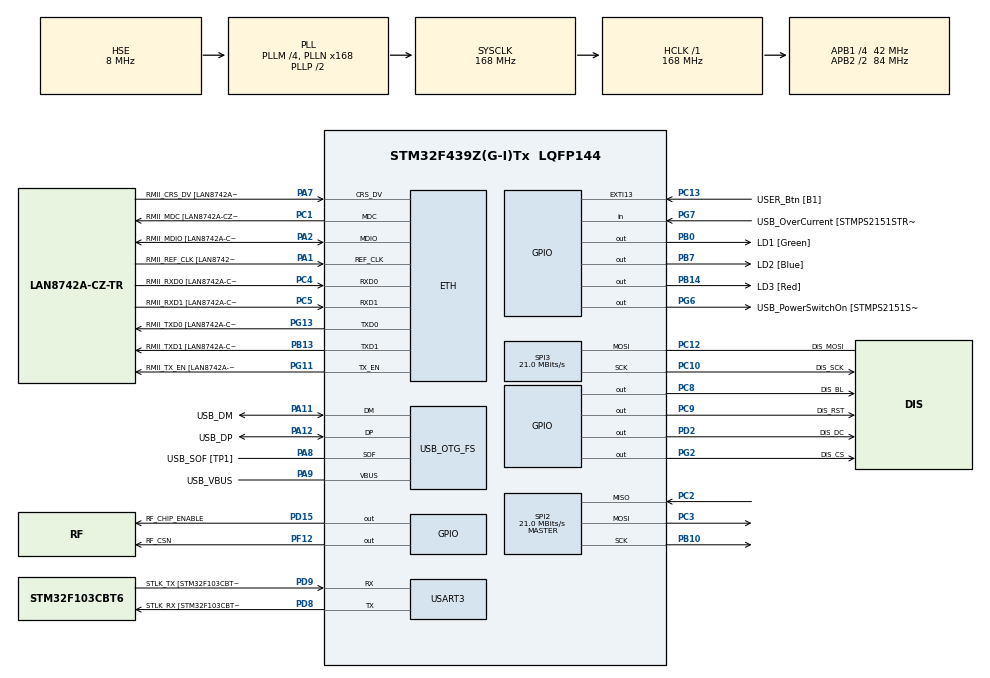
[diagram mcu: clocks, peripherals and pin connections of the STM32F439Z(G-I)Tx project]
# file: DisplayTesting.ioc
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ETH.MediaInterface=HAL_ETH_RMII_MODE
ETH.PHY_Name=LAN8742A_PHY_ADDRESS
ETH.PHY_Value=0
ETH.PhyAddress=0
Mcu.Family=STM32F4
Mcu.Name=STM32F439Z(G-I)Tx
Mcu.Package=LQFP144
NVIC.PriorityGroup=NVIC_PRIORITYGROUP_4
PA1.GPIO_Label=RMII_REF_CLK [LAN8742A-CZ-TR_REFCLK0]
PA1.Mode=RMII
PA1.Signal=ETH_REF_CLK
PA10.GPIO_Label=USB_ID
PA10.Signal=USB_OTG_FS_ID
PA11.GPIO_Label=USB_DM
PA11.Mode=Device_Only
PA11.Signal=USB_OTG_FS_DM
PA12.GPIO_Label=USB_DP
PA12.Mode=Device_Only
PA12.Signal=USB_OTG_FS_DP
PA13.GPIO_Label=TMS
PA13.Mode=Serial_Wire
PA13.Signal=SYS_JTMS-SWDIO
PA14.GPIO_Label=TCK
PA14.Mode=Serial_Wire
PA14.Signal=SYS_JTCK-SWCLK
PA2.GPIO_Label=RMII_MDIO [LAN8742A-CZ-TR_MDIO]
PA2.Mode=RMII
PA2.Signal=ETH_MDIO
PA5.GPIO_Label=RF_SCK
PA5.Signal=SPI1_SCK
PA6.GPIO_Label=RF_MISO
PA6.Signal=SPI1_MISO
PA7.GPIO_Label=RMII_CRS_DV [LAN8742A-CZ-TR_CRS_DV]
PA7.Mode=RMII
PA7.Signal=ETH_CRS_DV
PA8.GPIO_Label=USB_SOF [TP1]
PA8.Mode=Activate_SOF_FS
PA8.Signal=USB_OTG_FS_SOF
PA9.GPIO_Label=USB_VBUS
PA9.Mode=Activate_VBUS
PA9.Signal=USB_OTG_FS_VBUS
PB0.GPIO_Label=LD1 [Green]
PB0.Signal=GPIO_Output
PB10.Mode=Full_Duplex_Master
PB10.Signal=SPI2_SCK
PB13.GPIO_Label=RMII_TXD1 [LAN8742A-CZ-TR_TXD1]
PB13.Mode=RMII
PB13.Signal=ETH_TXD1
PB14.GPIO_Label=LD3 [Red]
PB14.Signal=GPIO_Output
PB5.GPIO_Label=RF_MOSI
PB5.Signal=SPI1_MOSI
PB7.GPIO_Label=LD2 [Blue]
PB7.Signal=GPIO_Output
PC1.GPIO_Label=RMII_MDC [LAN8742A-CZ-TR_MDC]
PC1.Mode=RMII
PC1.Signal=ETH_MDC
PC10.GPIO_Label=DIS_SCK
PC10.Mode=Simplex_Bidirectional_Master
PC10.Signal=SPI3_SCK
PC12.GPIO_Label=DIS_MOSI
PC12.Mode=Simplex_Bidirectional_Master
PC12.Signal=SPI3_MOSI
PC13.GPIO_Label=USER_Btn [B1]
PC13.Signal=GPXTI13
PC14/OSC32_IN.Mode=LSE-External-Oscillator
PC14/OSC32_IN.Signal=RCC_OSC32_IN
PC15/OSC32_OUT.Mode=LSE-External-Oscillator
PC15/OSC32_OUT.Signal=RCC_OSC32_OUT
PC2.Mode=Full_Duplex_Master
PC2.Signal=SPI2_MISO
PC3.Mode=Full_Duplex_Master
PC3.Signal=SPI2_MOSI
PC4.GPIO_Label=RMII_RXD0 [LAN8742A-CZ-TR_RXD0]
PC4.Mode=RMII
PC4.Signal=ETH_RXD0
PC5.GPIO_Label=RMII_RXD1 [LAN8742A-CZ-TR_RXD1]
PC5.Mode=RMII
PC5.Signal=ETH_RXD1
PC8.GPIO_Label=DIS_BL
PC8.Signal=GPIO_Output
PC9.GPIO_Label=DIS_RST
PC9.Signal=GPIO_Output
PD15.GPIO_Label=RF_CHIP_ENABLE
PD15.GPIO_Speed=GPIO_SPEED_FREQ_VERY_HIGH
PD15.Signal=GPIO_Output
PD2.GPIO_Label=DIS_DC
PD2.Signal=GPIO_Output
PD8.GPIO_Label=STLK_RX [STM32F103CBT6_PA3]
PD8.Mode=Asynchronous
PD8.Signal=USART3_TX
PD9.GPIO_Label=STLK_TX [STM32F103CBT6_PA2]
PD9.Mode=Asynchronous
PD9.Signal=USART3_RX
PF12.GPIO_Label=RF_CSN
PF12.GPIO_Speed=GPIO_SPEED_FREQ_VERY_HIGH
PF12.PinState=GPIO_PIN_SET
PF12.Signal=GPIO_Output
PG11.GPIO_Label=RMII_TX_EN [LAN8742A-CZ-TR_TXEN]
PG11.Mode=RMII
PG11.Signal=ETH_TX_EN
PG13.GPIO_Label=RMII_TXD0 [LAN8742A-CZ-TR_TXD0]
PG13.Mode=RMII
PG13.Signal=ETH_TXD0
PG2.GPIO_Label=DIS_CS
PG2.Signal=GPIO_Output
PG6.GPIO_Label=USB_PowerSwitchOn [STMPS2151STR_EN]
PG6.Signal=GPIO_Output
PG7.GPIO_Label=USB_OverCurrent [STMPS2151STR_FAULT]
PG7.Signal=GPIO_Input
PH0/OSC_IN.GPIO_Label=MCO [STM32F103CBT6_PA8]
PH0/OSC_IN.Mode=HSE-External-Clock-Source
PH0/OSC_IN.Signal=RCC_OSC_IN
PH1/OSC_OUT.Mode=HSE-External-Clock-Source
PH1/OSC_OUT.Signal=RCC_OSC_OUT
ProjectManager.HeapSize=0x200
ProjectManager.StackSize=0x400
ProjectManager.TargetToolchain=STM32CubeIDE
RCC.48MHZClocksFreq_Value=48000000
RCC.AHBFreq_Value=168000000
RCC.APB1CLKDivider=RCC_HCLK_DIV4
RCC.APB1Freq_Value=42000000
RCC.APB1TimFreq_Value=84000000
RCC.APB2CLKDivider=RCC_HCLK_DIV2
RCC.APB2Freq_Value=84000000
RCC.APB2TimCLKDivider=2
RCC.APB2TimFreq_Value=168000000
RCC.CortexFreq_Value=168000000
RCC.HCLKFreq_Value=168000000
RCC.HSE_VALUE=8000000
RCC.HSI_VALUE=16000000
RCC.PLLM=4
RCC.PLLMUL=RCC_PLL_MUL9
RCC.PLLN=168
RCC.PLLQ=7
RCC.PRESCALERUSB=RCC_USBCLKSOURCE_PLL_DIV1_5
RCC.SYSCLKFreq_VALUE=168000000
RCC.SYSCLKSource=RCC_SYSCLKSOURCE_PLLCLK
RCC.SYSCLKSourceVirtual=RCC_SYSCLKSOURCE_PLLCLK
RCC.USBFreq_Value=48000000
RCC.VCOOutputFreq_Value=336000000
SPI2.BaudRatePrescaler=SPI_BAUDRATEPRESCALER_2
SPI2.CalculateBaudRate=21.0 MBits/s
SPI2.Direction=SPI_DIRECTION_2LINES
SPI2.Mode=SPI_MODE_MASTER
SPI2.VirtualType=VM_MASTER
SPI3.BaudRatePrescaler=SPI_BAUDRATEPRESCALER_2
SPI3.CalculateBaudRate=21.0 MBits/s
SPI3.Direction=SPI_DIRECTION_1LINE
SPI3.Mode=SPI_MODE_MASTER
SPI3.VirtualType=VM_MASTER
USART3.VirtualMode=VM_ASYNC
USB_OTG_FS.VirtualMode=Device_Only
board=NUCLEO-F439ZI

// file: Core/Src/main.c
/* USER CODE BEGIN Header */
/**
  ******************************************************************************
  * @file           : main.c
  * @brief          : Main program body
  ******************************************************************************
  * @attention
  *
  * Copyright (c) 2023 STMicroelectronics.
  * All rights reserved.
  *
  * This software is licensed under terms that can be found in the LICENSE file
  * in the root directory of this software component.
  * If no LICENSE file comes with this software, it is provided AS-IS.
  *
  ******************************************************************************
  */
/* USER CODE END Header */
#include "main.h"
#include "string.h"

/* USER CODE BEGIN Includes */
// IMAGE_INPUT
// RF_INPUT
// CAMERA_INPUT
#define RF_INPUT

#include "displayST7789.h"
#include <stdint.h>
#include "string.h"
#ifdef RF_INPUT
#include "RFDriver.h"
#endif

#ifdef IMAGE_INPUT
#include "testImages/mandoRGB565.h"
#endif
//#include "mandoBW1.h"
//#include "madoBW3InRGB565.h"
/* USER CODE END Includes */

ETH_TxPacketConfig TxConfig;
ETH_DMADescTypeDef  DMARxDscrTab[ETH_RX_DESC_CNT]; /* Ethernet Rx DMA Descriptors */
ETH_DMADescTypeDef  DMATxDscrTab[ETH_TX_DESC_CNT]; /* Ethernet Tx DMA Descriptors */

ETH_HandleTypeDef heth;

SPI_HandleTypeDef hspi2;
SPI_HandleTypeDef hspi3;

UART_HandleTypeDef huart3;

PCD_HandleTypeDef hpcd_USB_OTG_FS;

void SystemClock_Config(void);
static void MX_GPIO_Init(void);
static void MX_ETH_Init(void);
static void MX_USART3_UART_Init(void);
static void MX_USB_OTG_FS_PCD_Init(void);
static void MX_SPI3_Init(void);
static void MX_SPI2_Init(void);

int main(void)
{

  /* MCU Configuration--------------------------------------------------------*/

  /* Reset of all peripherals, Initializes the Flash interface and the Systick. */
  HAL_Init();

  /* Configure the system clock */
  SystemClock_Config();

  /* Initialize all configured peripherals */
  MX_GPIO_Init();
  MX_ETH_Init();
  MX_USART3_UART_Init();
  MX_USB_OTG_FS_PCD_Init();
  MX_SPI3_Init();
  MX_SPI2_Init();
  /* USER CODE BEGIN 2 */
  Display_HandleTypeDef hDisplay;
  hDisplay.hspi = &hspi3;
  hDisplay.portCS = DIS_CS_GPIO_Port; hDisplay.pinCS = DIS_CS_Pin;
  hDisplay.portDC = DIS_DC_GPIO_Port; hDisplay.pinDC = DIS_DC_Pin;
  hDisplay.portRST = DIS_RST_GPIO_Port; hDisplay.pinRST = DIS_RST_Pin;
  hDisplay.portBL = DIS_BL_GPIO_Port; hDisplay.pinBL = DIS_BL_Pin;
  setupDisplay(hDisplay);

  #ifdef RF_INPUT
  RF_HandleTypeDef hRF;
  hRF.hspi = &hspi2;
  hRF.portCE = RF_CHIP_ENABLE_GPIO_Port;
  hRF.pinCE = RF_CHIP_ENABLE_Pin;
  hRF.portCSN = RF_CSN_GPIO_Port;
  hRF.pinCSN = RF_CSN_Pin;
  RFSetup(hRF);
  HAL_Delay(100);
  RXSetup();
  HAL_Delay(100);
  #endif

  /* USER CODE END 2 */

  /* Infinite loop */
  /* USER CODE BEGIN WHILE */
  uint16_t i = 0;
  while (1)
  {
    /* USER CODE END WHILE */

    /* USER CODE BEGIN 3 */
	//invertDisplay();

	// Image input
	// Radio Chip Input
	// Camera Input ??

	#ifdef IMAGE_INPUT
	paintDisplayRGB565(mando + 240*i/(8));
	i++;
	i = i%30;
	HAL_Delay(1);
	#endif

    #ifdef RF_INPUT
	uint8_t data[32];
	if (RXReceive(data)) {
		uint16_t lineID;
		uint8_t lineData[30];
		decodeImage(data, &lineID, lineData);
		paintLineBW1(lineID, lineData);
	}
    #endif

	//paintDisplay(mando);
	//invertDisplay();
  }
  /* USER CODE END 3 */
}

void SystemClock_Config(void)
{
  RCC_OscInitTypeDef RCC_OscInitStruct = {0};
  RCC_ClkInitTypeDef RCC_ClkInitStruct = {0};

  /** Configure the main internal regulator output voltage
  */
  __HAL_RCC_PWR_CLK_ENABLE();
  __HAL_PWR_VOLTAGESCALING_CONFIG(PWR_REGULATOR_VOLTAGE_SCALE1);

  /** Initializes the RCC Oscillators according to the specified parameters
  * in the RCC_OscInitTypeDef structure.
  */
  RCC_OscInitStruct.OscillatorType = RCC_OSCILLATORTYPE_HSE;
  RCC_OscInitStruct.HSEState = RCC_HSE_BYPASS;
  RCC_OscInitStruct.PLL.PLLState = RCC_PLL_ON;
  RCC_OscInitStruct.PLL.PLLSource = RCC_PLLSOURCE_HSE;
  RCC_OscInitStruct.PLL.PLLM = 4;
  RCC_OscInitStruct.PLL.PLLN = 168;
  RCC_OscInitStruct.PLL.PLLP = RCC_PLLP_DIV2;
  RCC_OscInitStruct.PLL.PLLQ = 7;
  if (HAL_RCC_OscConfig(&RCC_OscInitStruct) != HAL_OK)
  {
    Error_Handler();
  }

  /** Initializes the CPU, AHB and APB buses clocks
  */
  RCC_ClkInitStruct.ClockType = RCC_CLOCKTYPE_HCLK|RCC_CLOCKTYPE_SYSCLK
                              |RCC_CLOCKTYPE_PCLK1|RCC_CLOCKTYPE_PCLK2;
  RCC_ClkInitStruct.SYSCLKSource = RCC_SYSCLKSOURCE_PLLCLK;
  RCC_ClkInitStruct.AHBCLKDivider = RCC_SYSCLK_DIV1;
  RCC_ClkInitStruct.APB1CLKDivider = RCC_HCLK_DIV4;
  RCC_ClkInitStruct.APB2CLKDivider = RCC_HCLK_DIV2;

  if (HAL_RCC_ClockConfig(&RCC_ClkInitStruct, FLASH_LATENCY_5) != HAL_OK)
  {
    Error_Handler();
  }
}

static void MX_ETH_Init(void)
{

   static uint8_t MACAddr[6];

  heth.Instance = ETH;
  MACAddr[0] = 0x00;
  MACAddr[1] = 0x80;
  MACAddr[2] = 0xE1;
  MACAddr[3] = 0x00;
  MACAddr[4] = 0x00;
  MACAddr[5] = 0x00;
  heth.Init.MACAddr = &MACAddr[0];
  heth.Init.MediaInterface = HAL_ETH_RMII_MODE;
  heth.Init.TxDesc = DMATxDscrTab;
  heth.Init.RxDesc = DMARxDscrTab;
  heth.Init.RxBuffLen = 1524;

  if (HAL_ETH_Init(&heth) != HAL_OK)
  {
    Error_Handler();
  }

  memset(&TxConfig, 0 , sizeof(ETH_TxPacketConfig));
  TxConfig.Attributes = ETH_TX_PACKETS_FEATURES_CSUM | ETH_TX_PACKETS_FEATURES_CRCPAD;
  TxConfig.ChecksumCtrl = ETH_CHECKSUM_IPHDR_PAYLOAD_INSERT_PHDR_CALC;
  TxConfig.CRCPadCtrl = ETH_CRC_PAD_INSERT;

}

static void MX_SPI2_Init(void)
{

  /* SPI2 parameter configuration*/
  hspi2.Instance = SPI2;
  hspi2.Init.Mode = SPI_MODE_MASTER;
  hspi2.Init.Direction = SPI_DIRECTION_2LINES;
  hspi2.Init.DataSize = SPI_DATASIZE_8BIT;
  hspi2.Init.CLKPolarity = SPI_POLARITY_LOW;
  hspi2.Init.CLKPhase = SPI_PHASE_1EDGE;
  hspi2.Init.NSS = SPI_NSS_SOFT;
  hspi2.Init.BaudRatePrescaler = SPI_BAUDRATEPRESCALER_2;
  hspi2.Init.FirstBit = SPI_FIRSTBIT_MSB;
  hspi2.Init.TIMode = SPI_TIMODE_DISABLE;
  hspi2.Init.CRCCalculation = SPI_CRCCALCULATION_DISABLE;
  hspi2.Init.CRCPolynomial = 10;
  if (HAL_SPI_Init(&hspi2) != HAL_OK)
  {
    Error_Handler();
  }

}

static void MX_SPI3_Init(void)
{

  /* SPI3 parameter configuration*/
  hspi3.Instance = SPI3;
  hspi3.Init.Mode = SPI_MODE_MASTER;
  hspi3.Init.Direction = SPI_DIRECTION_1LINE;
  hspi3.Init.DataSize = SPI_DATASIZE_8BIT;
  hspi3.Init.CLKPolarity = SPI_POLARITY_LOW;
  hspi3.Init.CLKPhase = SPI_PHASE_1EDGE;
  hspi3.Init.NSS = SPI_NSS_SOFT;
  hspi3.Init.BaudRatePrescaler = SPI_BAUDRATEPRESCALER_2;
  hspi3.Init.FirstBit = SPI_FIRSTBIT_MSB;
  hspi3.Init.TIMode = SPI_TIMODE_DISABLE;
  hspi3.Init.CRCCalculation = SPI_CRCCALCULATION_DISABLE;
  hspi3.Init.CRCPolynomial = 10;
  if (HAL_SPI_Init(&hspi3) != HAL_OK)
  {
    Error_Handler();
  }

}

static void MX_USART3_UART_Init(void)
{

  huart3.Instance = USART3;
  huart3.Init.BaudRate = 115200;
  huart3.Init.WordLength = UART_WORDLENGTH_8B;
  huart3.Init.StopBits = UART_STOPBITS_1;
  huart3.Init.Parity = UART_PARITY_NONE;
  huart3.Init.Mode = UART_MODE_TX_RX;
  huart3.Init.HwFlowCtl = UART_HWCONTROL_NONE;
  huart3.Init.OverSampling = UART_OVERSAMPLING_16;
  if (HAL_UART_Init(&huart3) != HAL_OK)
  {
    Error_Handler();
  }

}

static void MX_USB_OTG_FS_PCD_Init(void)
{

  hpcd_USB_OTG_FS.Instance = USB_OTG_FS;
  hpcd_USB_OTG_FS.Init.dev_endpoints = 4;
  hpcd_USB_OTG_FS.Init.speed = PCD_SPEED_FULL;
  hpcd_USB_OTG_FS.Init.dma_enable = DISABLE;
  hpcd_USB_OTG_FS.Init.phy_itface = PCD_PHY_EMBEDDED;
  hpcd_USB_OTG_FS.Init.Sof_enable = ENABLE;
  hpcd_USB_OTG_FS.Init.low_power_enable = DISABLE;
  hpcd_USB_OTG_FS.Init.lpm_enable = DISABLE;
  hpcd_USB_OTG_FS.Init.vbus_sensing_enable = ENABLE;
  hpcd_USB_OTG_FS.Init.use_dedicated_ep1 = DISABLE;
  if (HAL_PCD_Init(&hpcd_USB_OTG_FS) != HAL_OK)
  {
    Error_Handler();
  }

}

static void MX_GPIO_Init(void)
{
  GPIO_InitTypeDef GPIO_InitStruct = {0};

  /* GPIO Ports Clock Enable */
  __HAL_RCC_GPIOC_CLK_ENABLE();
  __HAL_RCC_GPIOH_CLK_ENABLE();
  __HAL_RCC_GPIOA_CLK_ENABLE();
  __HAL_RCC_GPIOB_CLK_ENABLE();
  __HAL_RCC_GPIOF_CLK_ENABLE();
  __HAL_RCC_GPIOD_CLK_ENABLE();
  __HAL_RCC_GPIOG_CLK_ENABLE();

  /*Configure GPIO pin Output Level */
  HAL_GPIO_WritePin(GPIOB, LD1_Pin|LD3_Pin|LD2_Pin, GPIO_PIN_RESET);

  /*Configure GPIO pin Output Level */
  HAL_GPIO_WritePin(RF_CSN_GPIO_Port, RF_CSN_Pin, GPIO_PIN_SET);

  /*Configure GPIO pin Output Level */
  HAL_GPIO_WritePin(GPIOD, RF_CHIP_ENABLE_Pin|DIS_DC_Pin, GPIO_PIN_RESET);

  /*Configure GPIO pin Output Level */
  HAL_GPIO_WritePin(GPIOG, DIS_CS_Pin|USB_PowerSwitchOn_Pin, GPIO_PIN_RESET);

  /*Configure GPIO pin Output Level */
  HAL_GPIO_WritePin(GPIOC, DIS_BL_Pin|DIS_RST_Pin, GPIO_PIN_RESET);

  /*Configure GPIO pin : USER_Btn_Pin */
  GPIO_InitStruct.Pin = USER_Btn_Pin;
  GPIO_InitStruct.Mode = GPIO_MODE_IT_RISING;
  GPIO_InitStruct.Pull = GPIO_NOPULL;
  HAL_GPIO_Init(USER_Btn_GPIO_Port, &GPIO_InitStruct);

  /*Configure GPIO pins : RF_SCK_Pin RF_MISO_Pin */
  GPIO_InitStruct.Pin = RF_SCK_Pin|RF_MISO_Pin;
  GPIO_InitStruct.Mode = GPIO_MODE_AF_PP;
  GPIO_InitStruct.Pull = GPIO_NOPULL;
  GPIO_InitStruct.Speed = GPIO_SPEED_FREQ_VERY_HIGH;
  GPIO_InitStruct.Alternate = GPIO_AF5_SPI1;
  HAL_GPIO_Init(GPIOA, &GPIO_InitStruct);

  /*Configure GPIO pins : LD1_Pin LD3_Pin LD2_Pin */
  GPIO_InitStruct.Pin = LD1_Pin|LD3_Pin|LD2_Pin;
  GPIO_InitStruct.Mode = GPIO_MODE_OUTPUT_PP;
  GPIO_InitStruct.Pull = GPIO_NOPULL;
  GPIO_InitStruct.Speed = GPIO_SPEED_FREQ_LOW;
  HAL_GPIO_Init(GPIOB, &GPIO_InitStruct);

  /*Configure GPIO pin : RF_CSN_Pin */
  GPIO_InitStruct.Pin = RF_CSN_Pin;
  GPIO_InitStruct.Mode = GPIO_MODE_OUTPUT_PP;
  GPIO_InitStruct.Pull = GPIO_NOPULL;
  GPIO_InitStruct.Speed = GPIO_SPEED_FREQ_VERY_HIGH;
  HAL_GPIO_Init(RF_CSN_GPIO_Port, &GPIO_InitStruct);

  /*Configure GPIO pin : RF_CHIP_ENABLE_Pin */
  GPIO_InitStruct.Pin = RF_CHIP_ENABLE_Pin;
  GPIO_InitStruct.Mode = GPIO_MODE_OUTPUT_PP;
  GPIO_InitStruct.Pull = GPIO_NOPULL;
  GPIO_InitStruct.Speed = GPIO_SPEED_FREQ_VERY_HIGH;
  HAL_GPIO_Init(RF_CHIP_ENABLE_GPIO_Port, &GPIO_InitStruct);

  /*Configure GPIO pins : DIS_CS_Pin USB_PowerSwitchOn_Pin */
  GPIO_InitStruct.Pin = DIS_CS_Pin|USB_PowerSwitchOn_Pin;
  GPIO_InitStruct.Mode = GPIO_MODE_OUTPUT_PP;
  GPIO_InitStruct.Pull = GPIO_NOPULL;
  GPIO_InitStruct.Speed = GPIO_SPEED_FREQ_LOW;
  HAL_GPIO_Init(GPIOG, &GPIO_InitStruct);

  /*Configure GPIO pin : USB_OverCurrent_Pin */
  GPIO_InitStruct.Pin = USB_OverCurrent_Pin;
  GPIO_InitStruct.Mode = GPIO_MODE_INPUT;
  GPIO_InitStruct.Pull = GPIO_NOPULL;
  HAL_GPIO_Init(USB_OverCurrent_GPIO_Port, &GPIO_InitStruct);

  /*Configure GPIO pins : DIS_BL_Pin DIS_RST_Pin */
  GPIO_InitStruct.Pin = DIS_BL_Pin|DIS_RST_Pin;
  GPIO_InitStruct.Mode = GPIO_MODE_OUTPUT_PP;
  GPIO_InitStruct.Pull = GPIO_NOPULL;
  GPIO_InitStruct.Speed = GPIO_SPEED_FREQ_LOW;
  HAL_GPIO_Init(GPIOC, &GPIO_InitStruct);

  /*Configure GPIO pin : DIS_DC_Pin */
  GPIO_InitStruct.Pin = DIS_DC_Pin;
  GPIO_InitStruct.Mode = GPIO_MODE_OUTPUT_PP;
  GPIO_InitStruct.Pull = GPIO_NOPULL;
  GPIO_InitStruct.Speed = GPIO_SPEED_FREQ_LOW;
  HAL_GPIO_Init(DIS_DC_GPIO_Port, &GPIO_InitStruct);

  /*Configure GPIO pin : RF_MOSI_Pin */
  GPIO_InitStruct.Pin = RF_MOSI_Pin;
  GPIO_InitStruct.Mode = GPIO_MODE_AF_PP;
  GPIO_InitStruct.Pull = GPIO_NOPULL;
  GPIO_InitStruct.Speed = GPIO_SPEED_FREQ_VERY_HIGH;
  GPIO_InitStruct.Alternate = GPIO_AF5_SPI1;
  HAL_GPIO_Init(RF_MOSI_GPIO_Port, &GPIO_InitStruct);

}

void Error_Handler(void)
{
  __disable_irq();
  while (1)
  {
  }
}
